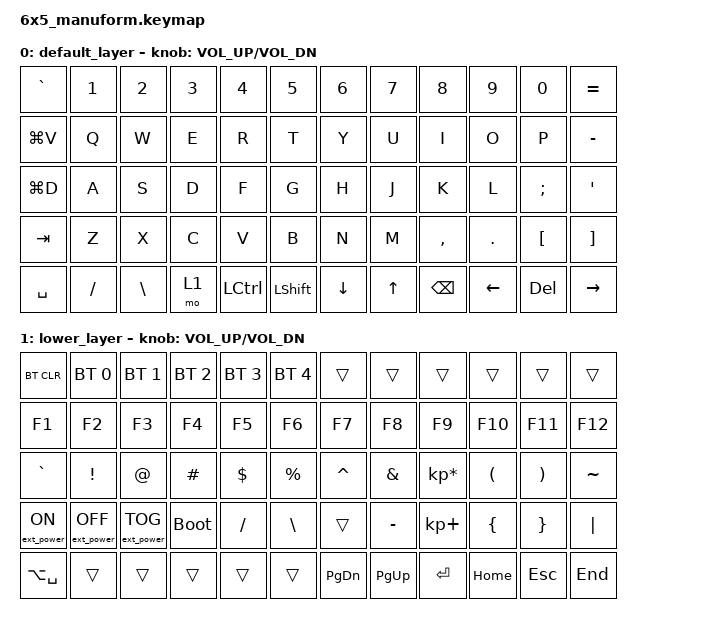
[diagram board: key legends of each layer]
/*
 * Copyright (c) 2020 The ZMK Contributors
 *
 * SPDX-License-Identifier: MIT
 */

#include <behaviors.dtsi>
#include <dt-bindings/zmk/bt.h>
#include <dt-bindings/zmk/ext_power.h>
#include <dt-bindings/zmk/keys.h>

/ {
    combos {
        compatible = "zmk,combos";

        escape {
            bindings = <&kp ESCAPE>;
            key-positions = <51 48>;
        };

        vol_up {
            bindings = <&kp C_VOLUME_UP>;
            key-positions = <55 51>;
        };

        vol_down {
            bindings = <&kp C_VOLUME_DOWN>;
            key-positions = <54 51>;
        };

        play_pause {
            bindings = <&kp C_PLAY_PAUSE>;
            key-positions = <55 54>;
        };

        question_mark {
            bindings = <&kp QUESTION>;
            key-positions = <51 34>;
        };

        next {
            bindings = <&kp C_NEXT>;
            key-positions = <51 59>;
        };

        previous {
            bindings = <&kp C_PREVIOUS>;
            key-positions = <51 57>;
        };
    };

    keymap {
        compatible = "zmk,keymap";

        default_layer {
            // ------------------------------------------------------------------------------------------------------------
            // |  ESC   |  1  |  2  |  3   |  4   |  5   |                    |  6   |  7    |  8    |  9   |   0   |   `   |
            // |  TAB   |  Q  |  W  |  E   |  R   |  T   |                    |  Y   |  U    |  I    |  O   |   P   |   -   |
            // |  CTRL  |  A  |  S  |  D   |  F   |  G   |                    |  H   |  J    |  K    |  L   |   ;   |   '   |
            // | SHIFT  |  Z  |  X  |  C   |  V   |  B   |                    |  N   |  M    |  ,    |  .   |   /   | SHIFT |
            // |    2   |  2  | f   | 6    | 4    | 1    |                    | 2    | 1     | w     | s    | n     |  a    |

            bindings = <
&kp GRAVE     &kp N1         &kp N2  &kp N3            &kp N4          &kp N5          &kp N6        &kp N7         &kp N8          &kp N9            &kp N0          &kp EQUAL
&kp LG(V)      &kp Q          &kp W   &kp E             &kp R           &kp T           &kp Y         &kp U          &kp I           &kp O             &kp P          &kp MINUS
&kp LG(D)      &kp A          &kp S   &kp D             &kp F           &kp G           &kp H         &kp J          &kp K           &kp L          &kp SEMI            &kp SQT
  &kp TAB      &kp Z          &kp X   &kp C             &kp V           &kp B           &kp N         &kp M      &kp COMMA         &kp DOT  &kp LEFT_BRACKET  &kp RIGHT_BRACKET
&kp SPACE  &kp SLASH  &kp BACKSLASH   &mo 1  &kp LEFT_CONTROL  &kp LEFT_SHIFT  &kp DOWN_ARROW  &kp UP_ARROW  &kp BACKSPACE  &kp LEFT_ARROW           &kp DEL    &kp RIGHT_ARROW
            >;

            sensor-bindings = <&inc_dec_kp C_VOL_UP C_VOL_DN>;
        };

        lower_layer {
            // ------------------------------------------------------------------------------------------------------------
            // | BTCLR | BT1 | BT2 |  BT3 |  BT4 |  BT5 |                   |      |       |       |      |       |       |
            // |  F1   |  F2 |  F3 |  F4  |  F5  |  F6  |                   |  F7  |  F8   |  F9   |  F10 |  F11  |  F12  |
            // |   `   |  !  |  @  |  #   |  $   |  %   |                   |  ^   |  &    |  *    |  (   |   )   |   ~   |
            // |       |     |     |      |      |      |                   |      |  _    |  +    |  {   |   }   |  "|"  |
            // |       |     |     |      |      |      |                   |      |       |       |      |       |       |

            bindings = <
      &bt BT_CLR       &bt BT_SEL 0       &bt BT_SEL 1  &bt BT_SEL 2  &bt BT_SEL 3   &bt BT_SEL 4         &trans       &trans           &trans    &trans      &trans     &trans
          &kp F1             &kp F2             &kp F3        &kp F4        &kp F5         &kp F6         &kp F7       &kp F8           &kp F9   &kp F10     &kp F11    &kp F12
       &kp GRAVE           &kp EXCL             &kp AT      &kp HASH    &kp DOLLAR      &kp PRCNT      &kp CARET     &kp AMPS  &kp KP_MULTIPLY  &kp LPAR    &kp RPAR  &kp TILDE
&ext_power EP_ON  &ext_power EP_OFF  &ext_power EP_TOG   &bootloader     &kp SLASH  &kp BACKSLASH         &trans    &kp MINUS      &kp KP_PLUS  &kp LBRC    &kp RBRC   &kp PIPE
   &kp LA(SPACE)             &trans             &trans        &trans        &trans         &trans  &kp PAGE_DOWN  &kp PAGE_UP        &kp ENTER  &kp HOME  &kp ESCAPE    &kp END
            >;

            sensor-bindings = <&inc_dec_kp C_VOL_UP C_VOL_DN>;
        };
    };
};
